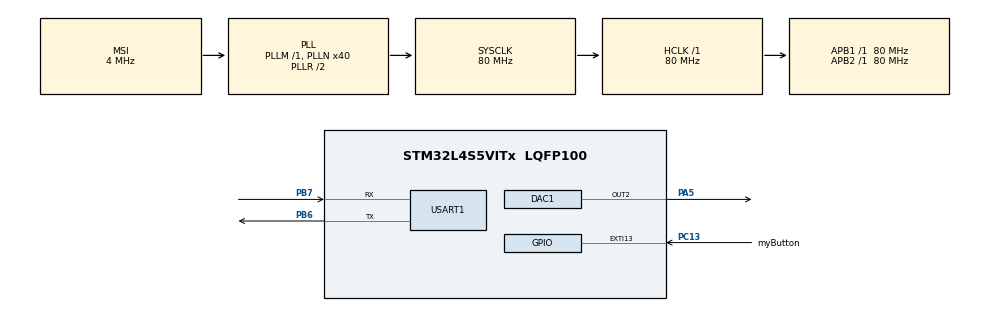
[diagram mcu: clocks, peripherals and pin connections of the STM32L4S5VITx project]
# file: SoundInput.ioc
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DAC1.DAC_Channel-DAC_OUT2=DAC_CHANNEL_2
DAC1.DAC_Trigger-DAC_OUT2=DAC_TRIGGER_T5_TRGO
Dma.DAC1_CH2.0.Direction=DMA_MEMORY_TO_PERIPH
Dma.DAC1_CH2.0.EventEnable=DISABLE
Dma.DAC1_CH2.0.Instance=DMA1_Channel1
Dma.DAC1_CH2.0.MemDataAlignment=DMA_MDATAALIGN_HALFWORD
Dma.DAC1_CH2.0.MemInc=DMA_MINC_ENABLE
Dma.DAC1_CH2.0.Mode=DMA_CIRCULAR
Dma.DAC1_CH2.0.PeriphDataAlignment=DMA_PDATAALIGN_WORD
Dma.DAC1_CH2.0.PeriphInc=DMA_PINC_DISABLE
Dma.DAC1_CH2.0.Polarity=HAL_DMAMUX_REQUEST_GEN_RISING
Dma.DAC1_CH2.0.Priority=DMA_PRIORITY_LOW
Dma.DAC1_CH2.0.RequestNumber=1
Dma.DAC1_CH2.0.SignalID=NONE
Dma.DAC1_CH2.0.SyncEnable=DISABLE
Dma.DAC1_CH2.0.SyncPolarity=HAL_DMAMUX_SYNC_NO_EVENT
Dma.DAC1_CH2.0.SyncRequestNumber=1
Dma.DAC1_CH2.0.SyncSignalID=NONE
Dma.Request0=DAC1_CH2
Mcu.Family=STM32L4
Mcu.Name=STM32L4S5VITx
Mcu.Package=LQFP100
NVIC.DMA1_Channel1_IRQn=true\:0\:0\:false\:false\:true\:false\:true\:true
NVIC.EXTI15_10_IRQn=true\:0\:0\:false\:false\:true\:true\:true\:true
NVIC.PriorityGroup=NVIC_PRIORITYGROUP_4
NVIC.TIM3_IRQn=true\:0\:0\:false\:false\:true\:true\:true\:true
NVIC.TIM6_DAC_IRQn=true\:15\:0\:false\:false\:true\:false\:true\:true
NVIC.USART1_IRQn=true\:0\:0\:false\:false\:true\:true\:true\:true
PA5.Signal=COMP_DAC12_group
PB6.Mode=Asynchronous
PB6.Signal=USART1_TX
PB7.Mode=Asynchronous
PB7.Signal=USART1_RX
PC13.GPIO_Label=myButton
PC13.Signal=GPXTI13
ProjectManager.HeapSize=0x200
ProjectManager.StackSize=0x400
ProjectManager.TargetToolchain=STM32CubeIDE
RCC.ADCFreq_Value=48000000
RCC.AHBFreq_Value=80000000
RCC.APB1Freq_Value=80000000
RCC.APB1TimFreq_Value=80000000
RCC.APB2Freq_Value=80000000
RCC.APB2TimFreq_Value=80000000
RCC.CortexFreq_Value=80000000
RCC.HCLKFreq_Value=80000000
RCC.HSE_VALUE=8000000
RCC.HSI48_VALUE=48000000
RCC.HSI_VALUE=16000000
RCC.LSE_VALUE=32768
RCC.MSI_VALUE=4000000
RCC.PLLN=40
RCC.PLLSAI1N=24
RCC.SYSCLKFreq_VALUE=80000000
RCC.SYSCLKSource=RCC_SYSCLKSOURCE_PLLCLK
RCC.USBFreq_Value=48000000
RCC.VCOOutputFreq_Value=160000000
SH.COMP_DAC12_group.0=DAC1_OUT2,DAC_OUT2
TIM3.Period=25400
TIM3.Prescaler=9999
TIM5.Period=10000
TIM5.TIM_MasterOutputTrigger=TIM_TRGO_UPDATE
USART1.VirtualMode-Asynchronous=VM_ASYNC
USART1.WordLength=WORDLENGTH_8B
VP_TIM3_VS_ClockSourceINT.Mode=Internal
VP_TIM5_VS_ClockSourceINT.Mode=Internal
board=B-L4S5I-IOT01A

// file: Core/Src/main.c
/* USER CODE BEGIN Header */
/**
 ******************************************************************************
 * @file           : main.c
 * @brief          : Main program body
 ******************************************************************************
 * @attention
 *
 * Copyright (c) 2022 STMicroelectronics.
 * All rights reserved.
 *
 * This software is licensed under terms that can be found in the LICENSE file
 * in the root directory of this software component.
 * If no LICENSE file comes with this software, it is provided AS-IS.
 *
 ******************************************************************************
 */
/* USER CODE END Header */
#include "main.h"

/* USER CODE BEGIN Includes */
#include "tetristhemequiet.c"
/* USER CODE END Includes */

/* USER CODE BEGIN PTD */
typedef enum {
	DOWN, CW, CCW, LEFT, RIGHT, TOGGLEPAUSE
} game_input_t;
/* USER CODE END PTD */

 DAC_HandleTypeDef hdac1;
DMA_HandleTypeDef hdma_dac1_ch2;

TIM_HandleTypeDef htim3;
TIM_HandleTypeDef htim5;

UART_HandleTypeDef huart1;

void SystemClock_Config(void);
static void MX_GPIO_Init(void);
static void MX_DMA_Init(void);
static void MX_USART1_UART_Init(void);
static void MX_DAC1_Init(void);
static void MX_TIM5_Init(void);
static void MX_TIM3_Init(void);

/* USER CODE BEGIN 0 */

void togglePause();

static const char empty[80] =
		"                                                                              \r\n";

char buf[80] =
		"                                                                              \r\n";

char in_buf[2] = "hi";

int paused = 0;

void _print() {
	HAL_UART_Transmit(&huart1, buf, 80, 0xFFFF);
}

void clear() {
	sprintf(buf, empty);
//	_print();
}

void hello_world() {
	sprintf(buf, "Hello, World!");
	_print();
}

void print_inbuf() {
	clear();
//	sprintf(buf, "Registered Input: ", in_buf[1]);
	sprintf(buf, in_buf);
	if (in_buf[0] != 0) {
		hello_world();
	}
	_print();
}

void print_gameInput(game_input_t input) {
	// here is where we handle input. RIght now this is just an inefficient nested switchcase
	clear();
//	sprintf(buf, input);
	switch (input) {
	case LEFT:
		sprintf(buf, "Input: Left");
		break;
	case RIGHT:
		sprintf(buf, "Input: Right");
		break;
	case DOWN:
		sprintf(buf, "Input: Down");
		break;
	case CW:
		sprintf(buf, "Input: Clockwise");
		break;
	case CCW:
		sprintf(buf, "Input: Counterclockwise");
		break;
	case TOGGLEPAUSE:
		sprintf(buf, "Input: Toggle Pause/Resume");

	}
	_print();
}

// Callbacks

void HAL_UART_RxCpltCallback(UART_HandleTypeDef *huart) {
//	print_inbuf();
	char c = ((huart)->Instance)->RDR;

	switch (c) {
	case 53: // 5 as in the key "5" (to test if working)
		hello_world();
		break;
	case 97: // a
		print_gameInput(LEFT);
		break;
	case 100: // d
		print_gameInput(RIGHT);
		break;
	case 107: // l
		print_gameInput(CCW);
		break;
	case 59: // semicolon
		print_gameInput(CW);
		break;
	case 115: // s
		print_gameInput(DOWN);
		break;
	case 32: // space
		togglePause();
	default:
		break;
	}
	HAL_UART_Receive_IT(&huart1, (uint8_t*) in_buf, 1);
}

// Sound stuff

uint16_t *wave_data = (uint16_t*) _actetristhemequiet;
uint32_t data_size = 25400;
int offset = 0;

void HAL_DAC_ConvCpltCallbackCh1(DAC_HandleTypeDef *hdac) {
	// Do we reach here?
	hello_world();
}

void HAL_TIM_PeriodElapsedCallback(TIM_HandleTypeDef *htim) {
	if (htim == &htim3) {
		offset = (offset + 1) % 4;
		HAL_DAC_Stop_DMA(&hdac1, DAC_CHANNEL_2);
		HAL_DAC_Start_DMA(&hdac1, DAC_CHANNEL_2,
				(uint16_t*) (wave_data + offset * data_size), data_size,
				DAC_ALIGN_12B_R);
	}
}

void togglePause() {
	print_gameInput(TOGGLEPAUSE);
	if (paused == 0) {
		HAL_DAC_Stop_DMA(&hdac1, DAC_CHANNEL_2);
		HAL_TIM_Base_Stop(&htim5);
		HAL_TIM_Base_Stop_IT(&htim3);
		paused = 1;
	} else {
		HAL_TIM_Base_Start(&htim5);
		HAL_TIM_Base_Start_IT(&htim3);
		HAL_DAC_Start_DMA(&hdac1, DAC_CHANNEL_2,
				(uint16_t*) (wave_data + offset * data_size), data_size,
				DAC_ALIGN_12B_R);
		paused = 0;
	}

}

void HAL_GPIO_EXTI_Callback(uint16_t GPIO_Pin) {
	if (GPIO_Pin == myButton_Pin) {
		togglePause();
	}
}

/* USER CODE END 0 */

int main(void)
{

  /* MCU Configuration--------------------------------------------------------*/

  /* Reset of all peripherals, Initializes the Flash interface and the Systick. */
  HAL_Init();

  /* Configure the system clock */
  SystemClock_Config();

  /* Initialize all configured peripherals */
  MX_GPIO_Init();
  MX_DMA_Init();
  MX_USART1_UART_Init();
  MX_DAC1_Init();
  MX_TIM5_Init();
  MX_TIM3_Init();
  /* USER CODE BEGIN 2 */
	HAL_UART_Receive_IT(&huart1, (uint8_t*) in_buf, 1);
	hello_world();
	HAL_TIM_Base_Start(&htim5);
	HAL_TIM_Base_Start_IT(&htim3);
	HAL_DAC_Start_DMA(&hdac1, DAC_CHANNEL_2, (uint16_t*) wave_data, data_size,
	DAC_ALIGN_12B_R);

  /* USER CODE END 2 */

  /* Infinite loop */
	while (1) {

	}
}

void SystemClock_Config(void)
{
  RCC_OscInitTypeDef RCC_OscInitStruct = {0};
  RCC_ClkInitTypeDef RCC_ClkInitStruct = {0};

  /** Configure the main internal regulator output voltage
  */
  if (HAL_PWREx_ControlVoltageScaling(PWR_REGULATOR_VOLTAGE_SCALE1) != HAL_OK)
  {
    Error_Handler();
  }

  /** Initializes the RCC Oscillators according to the specified parameters
  * in the RCC_OscInitTypeDef structure.
  */
  RCC_OscInitStruct.OscillatorType = RCC_OSCILLATORTYPE_MSI;
  RCC_OscInitStruct.MSIState = RCC_MSI_ON;
  RCC_OscInitStruct.MSICalibrationValue = 0;
  RCC_OscInitStruct.MSIClockRange = RCC_MSIRANGE_6;
  RCC_OscInitStruct.PLL.PLLState = RCC_PLL_ON;
  RCC_OscInitStruct.PLL.PLLSource = RCC_PLLSOURCE_MSI;
  RCC_OscInitStruct.PLL.PLLM = 1;
  RCC_OscInitStruct.PLL.PLLN = 40;
  RCC_OscInitStruct.PLL.PLLP = RCC_PLLP_DIV2;
  RCC_OscInitStruct.PLL.PLLQ = RCC_PLLQ_DIV2;
  RCC_OscInitStruct.PLL.PLLR = RCC_PLLR_DIV2;
  if (HAL_RCC_OscConfig(&RCC_OscInitStruct) != HAL_OK)
  {
    Error_Handler();
  }

  /** Initializes the CPU, AHB and APB buses clocks
  */
  RCC_ClkInitStruct.ClockType = RCC_CLOCKTYPE_HCLK|RCC_CLOCKTYPE_SYSCLK
                              |RCC_CLOCKTYPE_PCLK1|RCC_CLOCKTYPE_PCLK2;
  RCC_ClkInitStruct.SYSCLKSource = RCC_SYSCLKSOURCE_PLLCLK;
  RCC_ClkInitStruct.AHBCLKDivider = RCC_SYSCLK_DIV1;
  RCC_ClkInitStruct.APB1CLKDivider = RCC_HCLK_DIV1;
  RCC_ClkInitStruct.APB2CLKDivider = RCC_HCLK_DIV1;

  if (HAL_RCC_ClockConfig(&RCC_ClkInitStruct, FLASH_LATENCY_3) != HAL_OK)
  {
    Error_Handler();
  }
}

static void MX_DAC1_Init(void)
{

  DAC_ChannelConfTypeDef sConfig = {0};

  /** DAC Initialization
  */
  hdac1.Instance = DAC1;
  if (HAL_DAC_Init(&hdac1) != HAL_OK)
  {
    Error_Handler();
  }

  /** DAC channel OUT2 config
  */
  sConfig.DAC_SampleAndHold = DAC_SAMPLEANDHOLD_DISABLE;
  sConfig.DAC_Trigger = DAC_TRIGGER_T5_TRGO;
  sConfig.DAC_HighFrequency = DAC_HIGH_FREQUENCY_INTERFACE_MODE_DISABLE;
  sConfig.DAC_OutputBuffer = DAC_OUTPUTBUFFER_ENABLE;
  sConfig.DAC_ConnectOnChipPeripheral = DAC_CHIPCONNECT_DISABLE;
  sConfig.DAC_UserTrimming = DAC_TRIMMING_FACTORY;
  if (HAL_DAC_ConfigChannel(&hdac1, &sConfig, DAC_CHANNEL_2) != HAL_OK)
  {
    Error_Handler();
  }

}

static void MX_TIM3_Init(void)
{

  TIM_ClockConfigTypeDef sClockSourceConfig = {0};
  TIM_MasterConfigTypeDef sMasterConfig = {0};

  htim3.Instance = TIM3;
  htim3.Init.Prescaler = 9999;
  htim3.Init.CounterMode = TIM_COUNTERMODE_UP;
  htim3.Init.Period = 25400;
  htim3.Init.ClockDivision = TIM_CLOCKDIVISION_DIV1;
  htim3.Init.AutoReloadPreload = TIM_AUTORELOAD_PRELOAD_DISABLE;
  if (HAL_TIM_Base_Init(&htim3) != HAL_OK)
  {
    Error_Handler();
  }
  sClockSourceConfig.ClockSource = TIM_CLOCKSOURCE_INTERNAL;
  if (HAL_TIM_ConfigClockSource(&htim3, &sClockSourceConfig) != HAL_OK)
  {
    Error_Handler();
  }
  sMasterConfig.MasterOutputTrigger = TIM_TRGO_RESET;
  sMasterConfig.MasterSlaveMode = TIM_MASTERSLAVEMODE_DISABLE;
  if (HAL_TIMEx_MasterConfigSynchronization(&htim3, &sMasterConfig) != HAL_OK)
  {
    Error_Handler();
  }

}

static void MX_TIM5_Init(void)
{

  TIM_ClockConfigTypeDef sClockSourceConfig = {0};
  TIM_MasterConfigTypeDef sMasterConfig = {0};

  htim5.Instance = TIM5;
  htim5.Init.Prescaler = 0;
  htim5.Init.CounterMode = TIM_COUNTERMODE_UP;
  htim5.Init.Period = 10000;
  htim5.Init.ClockDivision = TIM_CLOCKDIVISION_DIV1;
  htim5.Init.AutoReloadPreload = TIM_AUTORELOAD_PRELOAD_DISABLE;
  if (HAL_TIM_Base_Init(&htim5) != HAL_OK)
  {
    Error_Handler();
  }
  sClockSourceConfig.ClockSource = TIM_CLOCKSOURCE_INTERNAL;
  if (HAL_TIM_ConfigClockSource(&htim5, &sClockSourceConfig) != HAL_OK)
  {
    Error_Handler();
  }
  sMasterConfig.MasterOutputTrigger = TIM_TRGO_UPDATE;
  sMasterConfig.MasterSlaveMode = TIM_MASTERSLAVEMODE_DISABLE;
  if (HAL_TIMEx_MasterConfigSynchronization(&htim5, &sMasterConfig) != HAL_OK)
  {
    Error_Handler();
  }

}

static void MX_USART1_UART_Init(void)
{

  huart1.Instance = USART1;
  huart1.Init.BaudRate = 115200;
  huart1.Init.WordLength = UART_WORDLENGTH_8B;
  huart1.Init.StopBits = UART_STOPBITS_1;
  huart1.Init.Parity = UART_PARITY_NONE;
  huart1.Init.Mode = UART_MODE_TX_RX;
  huart1.Init.HwFlowCtl = UART_HWCONTROL_NONE;
  huart1.Init.OverSampling = UART_OVERSAMPLING_16;
  huart1.Init.OneBitSampling = UART_ONE_BIT_SAMPLE_DISABLE;
  huart1.Init.ClockPrescaler = UART_PRESCALER_DIV1;
  huart1.AdvancedInit.AdvFeatureInit = UART_ADVFEATURE_NO_INIT;
  if (HAL_UART_Init(&huart1) != HAL_OK)
  {
    Error_Handler();
  }
  if (HAL_UARTEx_SetTxFifoThreshold(&huart1, UART_TXFIFO_THRESHOLD_1_8) != HAL_OK)
  {
    Error_Handler();
  }
  if (HAL_UARTEx_SetRxFifoThreshold(&huart1, UART_RXFIFO_THRESHOLD_1_8) != HAL_OK)
  {
    Error_Handler();
  }
  if (HAL_UARTEx_DisableFifoMode(&huart1) != HAL_OK)
  {
    Error_Handler();
  }

}

static void MX_DMA_Init(void)
{

  /* DMA controller clock enable */
  __HAL_RCC_DMAMUX1_CLK_ENABLE();
  __HAL_RCC_DMA1_CLK_ENABLE();

  /* DMA interrupt init */
  /* DMA1_Channel1_IRQn interrupt configuration */
  HAL_NVIC_SetPriority(DMA1_Channel1_IRQn, 0, 0);
  HAL_NVIC_EnableIRQ(DMA1_Channel1_IRQn);

}

static void MX_GPIO_Init(void)
{
  GPIO_InitTypeDef GPIO_InitStruct = {0};

  /* GPIO Ports Clock Enable */
  __HAL_RCC_GPIOC_CLK_ENABLE();
  __HAL_RCC_GPIOA_CLK_ENABLE();
  __HAL_RCC_GPIOB_CLK_ENABLE();

  /*Configure GPIO pin : myButton_Pin */
  GPIO_InitStruct.Pin = myButton_Pin;
  GPIO_InitStruct.Mode = GPIO_MODE_IT_RISING;
  GPIO_InitStruct.Pull = GPIO_NOPULL;
  HAL_GPIO_Init(myButton_GPIO_Port, &GPIO_InitStruct);

  /* EXTI interrupt init*/
  HAL_NVIC_SetPriority(EXTI15_10_IRQn, 0, 0);
  HAL_NVIC_EnableIRQ(EXTI15_10_IRQn);

}

void Error_Handler(void)
{
	__disable_irq();
	while (1) {
	}
}
